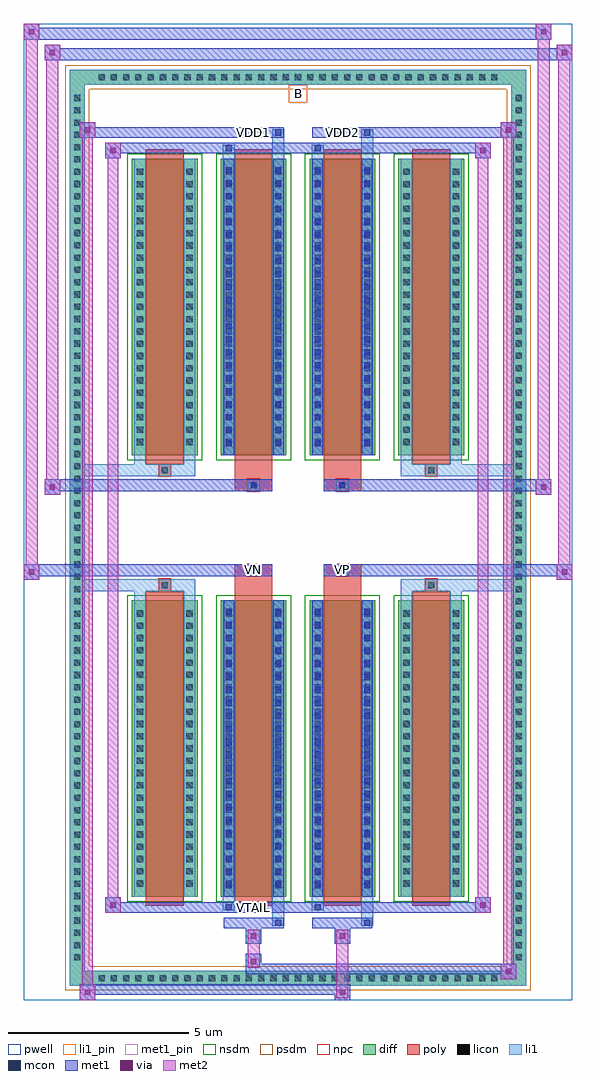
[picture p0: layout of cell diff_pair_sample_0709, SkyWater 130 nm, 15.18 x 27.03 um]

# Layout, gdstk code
import gdstk
lib = gdstk.Library(unit=1e-6, precision=5e-09)
def R(c, l, rs):  # rectangles x0, y0, x1, y1
    for r in rs: c.add(gdstk.rectangle(r[:2], r[2:], *l))
def A(c, l, x, y, w, h, nx, ny, dx, dy):  # array of equal rectangles
    R(c, l, [(x+i*dx, y+j*dy, x+i*dx+w, y+j*dy+h) for i in range(nx) for j in range(ny)])
def P(c, l, *ps):  # polygons
    for p in ps: c.add(gdstk.Polygon(p, *l))
pwell = (64, 44)
diff = (65, 20)
poly = (66, 20)
licon = (66, 44)
li1_pin = (67, 16)
li1 = (67, 20)
mcon = (67, 44)
met1_pin = (68, 16)
met1 = (68, 20)
via = (68, 44)
met2 = (69, 20)
nsdm = (93, 44)
psdm = (94, 20)
npc = (95, 20)

diff_pair_sample_0709 = lib.new_cell('diff_pair_sample_0709')
R(diff_pair_sample_0709, pwell, [(-7.59,-13.08,7.59,13.95), (-4.91,-11.27,-0.01,-0.815), (0.01,-11.27,4.91,-0.815), (-4.91,0.815,-0.01,11.27), (0.01,0.815,4.91,11.27)])
A(diff_pair_sample_0709, diff, -5.645, -12.68, 0.41, 0.41, 33, 2, 0.34, 24.95)
A(diff_pair_sample_0709, diff, -6.32, -12.105, 0.41, 0.41, 1, 71, 0, 0.34)
A(diff_pair_sample_0709, diff, 5.91, -12.105, 0.41, 0.41, 1, 71, 0, 0.34)
A(diff_pair_sample_0709, diff, -4.6, -10.225, 1.82, 8.22, 4, 2, 2.46, 12.23)
R(diff_pair_sample_0709, diff, [(-5.645,-12.68,5.645,-12.27), (-6.32,-12.105,-5.91,12.105), (5.91,-12.105,6.32,12.105), (-5.645,12.27,5.645,12.68)])
P(diff_pair_sample_0709, diff, [(6.32,12.68),(-6.32,12.68),(-6.32,-12.27),(-5.91,-12.27),(-5.91,12.27),(5.91,12.27),(5.91,-12.27),(-5.91,-12.27),(-6.32,-12.27),(-6.32,-12.68),(6.32,-12.68)])
A(diff_pair_sample_0709, poly, -4.21, -10.475, 1.04, 8.72, 4, 2, 2.46, 12.23)
R(diff_pair_sample_0709, poly, [(-3.855,-1.755,-3.525,-1.425), (-3.855,-1.755,-3.525,-1.425), (-1.75,-1.755,-0.71,-1.345), (0.71,-1.755,1.75,-1.345), (3.525,-1.755,3.855,-1.425), (3.525,-1.755,3.855,-1.425), (-1.75,-1.345,-0.71,-1.015), (-1.395,-1.345,-1.065,-1.015), (0.71,-1.345,1.75,-1.015), (1.065,-1.345,1.395,-1.015), (-1.75,1.015,-0.71,1.345), (-1.395,1.015,-1.065,1.345), (0.71,1.015,1.75,1.345), (1.065,1.015,1.395,1.345), (-1.75,1.345,-0.71,1.755), (0.71,1.345,1.75,1.755), (-3.855,1.425,-3.525,1.755), (-3.855,1.425,-3.525,1.755), (3.525,1.425,3.855,1.755), (3.525,1.425,3.855,1.755)])
A(diff_pair_sample_0709, licon, -5.525, -12.56, 0.17, 0.17, 33, 2, 0.34, 24.95)
A(diff_pair_sample_0709, licon, -6.2, -11.985, 0.17, 0.17, 1, 71, 0, 0.34)
A(diff_pair_sample_0709, licon, 6.03, -11.985, 0.17, 0.17, 1, 71, 0, 0.34)
A(diff_pair_sample_0709, licon, -4.46, -9.94, 0.17, 0.17, 1, 23, 0, 0.34)
A(diff_pair_sample_0709, licon, -3.09, -9.94, 0.17, 0.17, 1, 23, 0, 0.34)
A(diff_pair_sample_0709, licon, -2, -9.94, 0.17, 0.17, 1, 23, 0, 0.34)
A(diff_pair_sample_0709, licon, -0.63, -9.94, 0.17, 0.17, 1, 23, 0, 0.34)
A(diff_pair_sample_0709, licon, 0.46, -9.94, 0.17, 0.17, 1, 23, 0, 0.34)
A(diff_pair_sample_0709, licon, 1.83, -9.94, 0.17, 0.17, 1, 23, 0, 0.34)
A(diff_pair_sample_0709, licon, 2.92, -9.94, 0.17, 0.17, 1, 23, 0, 0.34)
A(diff_pair_sample_0709, licon, 4.29, -9.94, 0.17, 0.17, 1, 23, 0, 0.34)
A(diff_pair_sample_0709, licon, -4.46, 2.29, 0.17, 0.17, 1, 23, 0, 0.34)
A(diff_pair_sample_0709, licon, -3.09, 2.29, 0.17, 0.17, 1, 23, 0, 0.34)
A(diff_pair_sample_0709, licon, -2, 2.29, 0.17, 0.17, 1, 23, 0, 0.34)
A(diff_pair_sample_0709, licon, -0.63, 2.29, 0.17, 0.17, 1, 23, 0, 0.34)
A(diff_pair_sample_0709, licon, 0.46, 2.29, 0.17, 0.17, 1, 23, 0, 0.34)
A(diff_pair_sample_0709, licon, 1.83, 2.29, 0.17, 0.17, 1, 23, 0, 0.34)
A(diff_pair_sample_0709, licon, 2.92, 2.29, 0.17, 0.17, 1, 23, 0, 0.34)
A(diff_pair_sample_0709, licon, 4.29, 2.29, 0.17, 0.17, 1, 23, 0, 0.34)
R(diff_pair_sample_0709, licon, [(-3.775,-1.675,-3.605,-1.505), (3.605,-1.675,3.775,-1.505), (-1.315,-1.265,-1.145,-1.095), (1.145,-1.265,1.315,-1.095), (-1.315,1.095,-1.145,1.265), (1.145,1.095,1.315,1.265), (-3.775,1.505,-3.605,1.675), (3.605,1.505,3.775,1.675)])
R(diff_pair_sample_0709, li1_pin, [(-0.25,11.77,0.25,12.27)])
A(diff_pair_sample_0709, li1, -5.605, -12.64, 0.33, 0.33, 33, 2, 0.34, 24.95)
A(diff_pair_sample_0709, li1, -6.28, -12.065, 0.33, 0.33, 1, 71, 0, 0.34)
A(diff_pair_sample_0709, li1, 5.95, -12.065, 0.33, 0.33, 1, 71, 0, 0.34)
A(diff_pair_sample_0709, li1, -4.54, -10.02, 0.33, 0.33, 1, 23, 0, 0.34)
A(diff_pair_sample_0709, li1, -3.17, -10.02, 0.33, 0.33, 1, 23, 0, 0.34)
A(diff_pair_sample_0709, li1, -2.08, -10.02, 0.33, 0.33, 1, 23, 0, 0.34)
A(diff_pair_sample_0709, li1, -0.71, -10.02, 0.33, 0.33, 1, 23, 0, 0.34)
A(diff_pair_sample_0709, li1, 0.38, -10.02, 0.33, 0.33, 1, 23, 0, 0.34)
A(diff_pair_sample_0709, li1, 1.75, -10.02, 0.33, 0.33, 1, 23, 0, 0.34)
A(diff_pair_sample_0709, li1, 2.84, -10.02, 0.33, 0.33, 1, 23, 0, 0.34)
A(diff_pair_sample_0709, li1, 4.21, -10.02, 0.33, 0.33, 1, 23, 0, 0.34)
A(diff_pair_sample_0709, li1, -2, -9.98, 0.17, 0.17, 1, 22, 0, 0.36)
A(diff_pair_sample_0709, li1, -0.63, -9.98, 0.17, 0.17, 1, 22, 0, 0.36)
A(diff_pair_sample_0709, li1, 0.46, -9.98, 0.17, 0.17, 1, 22, 0, 0.36)
A(diff_pair_sample_0709, li1, 1.83, -9.98, 0.17, 0.17, 1, 22, 0, 0.36)
A(diff_pair_sample_0709, li1, -4.54, 2.21, 0.33, 0.33, 1, 23, 0, 0.34)
A(diff_pair_sample_0709, li1, -3.17, 2.21, 0.33, 0.33, 1, 23, 0, 0.34)
A(diff_pair_sample_0709, li1, -2.08, 2.21, 0.33, 0.33, 1, 23, 0, 0.34)
A(diff_pair_sample_0709, li1, -0.71, 2.21, 0.33, 0.33, 1, 23, 0, 0.34)
A(diff_pair_sample_0709, li1, 0.38, 2.21, 0.33, 0.33, 1, 23, 0, 0.34)
A(diff_pair_sample_0709, li1, 1.75, 2.21, 0.33, 0.33, 1, 23, 0, 0.34)
A(diff_pair_sample_0709, li1, 2.84, 2.21, 0.33, 0.33, 1, 23, 0, 0.34)
A(diff_pair_sample_0709, li1, 4.21, 2.21, 0.33, 0.33, 1, 23, 0, 0.34)
A(diff_pair_sample_0709, li1, -2, 2.25, 0.17, 0.17, 1, 22, 0, 0.36)
A(diff_pair_sample_0709, li1, -0.63, 2.25, 0.17, 0.17, 1, 22, 0, 0.36)
A(diff_pair_sample_0709, li1, 0.46, 2.25, 0.17, 0.17, 1, 22, 0, 0.36)
A(diff_pair_sample_0709, li1, 1.83, 2.25, 0.17, 0.17, 1, 22, 0, 0.36)
R(diff_pair_sample_0709, li1, [(-6.32,-12.68,-5.91,-12.27), (-6.32,-12.68,-5.91,-12.27), (-5.91,-12.68,5.91,-12.27), (5.91,-12.68,6.32,-12.27), (5.91,-12.68,6.32,-12.27), (-6.32,-12.27,-5.91,12.27), (5.91,-12.27,6.32,12.27), (-0.71,-11.03,-0.38,-10.225), (-0.63,-11.03,-0.46,-10.86), (1.75,-11.03,2.08,-10.225), (1.83,-11.03,2,-10.86), (-2.08,-10.6,-1.75,-10.225), (-2,-10.6,-1.83,-10.43), (0.38,-10.6,0.71,-10.225), (0.46,-10.6,0.63,-10.43), (-4.54,-10.225,-4.21,-2.005), (-3.17,-10.225,-2.84,-2.005), (-2.08,-10.225,-1.75,-2.005), (-0.71,-10.225,-0.38,-2.005), (0.38,-10.225,0.71,-2.005), (1.75,-10.225,2.08,-2.005), (2.84,-10.225,3.17,-2.005), (4.21,-10.225,4.54,-2.005), (-2,-9.98,-1.83,-2.25), (-0.63,-9.98,-0.46,-2.25), (0.46,-9.98,0.63,-2.25), (1.83,-9.98,2,-2.25), (-4.54,-2.005,-4.21,-1.425), (-3.17,-2.005,-2.84,-1.425), (2.84,-2.005,3.17,-1.425), (4.21,-2.005,4.54,-1.425), (-6.32,-1.755,-3.855,-1.425), (-4.54,-1.755,-3.855,-1.425), (-3.855,-1.755,-3.525,-1.425), (-3.525,-1.755,-2.84,-1.425), (2.84,-1.755,3.525,-1.425), (3.525,-1.755,3.855,-1.425), (3.525,-1.755,6.32,-1.425), (3.855,-1.755,4.54,-1.425), (-1.395,-1.345,-1.065,-1.015), (1.065,-1.345,1.395,-1.015), (-1.395,1.015,-1.065,1.345), (1.065,1.015,1.395,1.345), (-6.32,1.425,-3.855,1.755), (-4.54,1.425,-3.855,1.755), (-4.54,1.425,-4.21,2.005), (-3.855,1.425,-3.525,1.755), (-3.525,1.425,-2.84,1.755), (-3.17,1.425,-2.84,2.005), (2.84,1.425,3.525,1.755), (2.84,1.425,3.17,2.005), (3.525,1.425,3.855,1.755), (3.525,1.425,6.32,1.755), (3.855,1.425,4.54,1.755), (4.21,1.425,4.54,2.005), (-4.54,2.005,-4.21,10.225), (-3.17,2.005,-2.84,10.225), (-2.08,2.005,-1.75,10.225), (-0.71,2.005,-0.38,10.225), (0.38,2.005,0.71,10.225), (1.75,2.005,2.08,10.225), (2.84,2.005,3.17,10.225), (4.21,2.005,4.54,10.225), (-2,2.25,-1.83,9.98), (-0.63,2.25,-0.46,9.98), (0.46,2.25,0.63,9.98), (1.83,2.25,2,9.98), (-2.08,10.225,-1.75,10.6), (-0.71,10.225,-0.38,11.03), (0.38,10.225,0.71,10.6), (1.75,10.225,2.08,11.03), (-2,10.43,-1.83,10.6), (0.46,10.43,0.63,10.6), (-0.63,10.86,-0.46,11.03), (1.83,10.86,2,11.03), (-6.32,12.27,-5.91,12.68), (-6.32,12.27,-5.91,12.68), (-5.91,12.27,5.91,12.68), (5.91,12.27,6.32,12.68), (5.91,12.27,6.32,12.68)])
A(diff_pair_sample_0709, mcon, -2, -9.98, 0.17, 0.17, 1, 22, 0, 0.36)
A(diff_pair_sample_0709, mcon, -0.63, -9.98, 0.17, 0.17, 1, 22, 0, 0.36)
A(diff_pair_sample_0709, mcon, 0.46, -9.98, 0.17, 0.17, 1, 22, 0, 0.36)
A(diff_pair_sample_0709, mcon, 1.83, -9.98, 0.17, 0.17, 1, 22, 0, 0.36)
A(diff_pair_sample_0709, mcon, -2, 2.25, 0.17, 0.17, 1, 22, 0, 0.36)
A(diff_pair_sample_0709, mcon, -0.63, 2.25, 0.17, 0.17, 1, 22, 0, 0.36)
A(diff_pair_sample_0709, mcon, 0.46, 2.25, 0.17, 0.17, 1, 22, 0, 0.36)
A(diff_pair_sample_0709, mcon, 1.83, 2.25, 0.17, 0.17, 1, 22, 0, 0.36)
R(diff_pair_sample_0709, mcon, [(-0.63,-11.03,-0.46,-10.86), (1.83,-11.03,2,-10.86), (-2,-10.6,-1.83,-10.43), (0.46,-10.6,0.63,-10.43), (-1.315,-1.265,-1.145,-1.095), (1.145,-1.265,1.315,-1.095), (-1.315,1.095,-1.145,1.265), (1.145,1.095,1.315,1.265), (-2,10.43,-1.83,10.6), (0.46,10.43,0.63,10.6), (-0.63,10.86,-0.46,11.03), (1.83,10.86,2,11.03)])
R(diff_pair_sample_0709, met1_pin, [(-1.365,-10.64,-1.095,-10.37), (-1.365,-1.285,-1.095,-1.015), (1.095,-1.285,1.365,-1.015), (-1.365,10.82,-1.095,11.09), (1.095,10.82,1.365,11.09)])
A(diff_pair_sample_0709, met1, -2.06, -10.04, 0.29, 0.29, 1, 22, 0, 0.36)
A(diff_pair_sample_0709, met1, -0.69, -10.04, 0.29, 0.29, 1, 22, 0, 0.36)
A(diff_pair_sample_0709, met1, 0.4, -10.04, 0.29, 0.29, 1, 22, 0, 0.36)
A(diff_pair_sample_0709, met1, 1.77, -10.04, 0.29, 0.29, 1, 22, 0, 0.36)
A(diff_pair_sample_0709, met1, -2.06, 2.19, 0.29, 0.29, 1, 22, 0, 0.36)
A(diff_pair_sample_0709, met1, -0.69, 2.19, 0.29, 0.29, 1, 22, 0, 0.36)
A(diff_pair_sample_0709, met1, 0.4, 2.19, 0.29, 0.29, 1, 22, 0, 0.36)
A(diff_pair_sample_0709, met1, 1.77, 2.19, 0.29, 0.29, 1, 22, 0, 0.36)
R(diff_pair_sample_0709, met1, [(-6.05,-13.08,-5.62,-12.65), (1.015,-13.08,1.445,-12.65), (-6.05,-12.94,1.445,-12.65), (5.62,-12.51,6.05,-12.08), (-1.445,-12.37,6.05,-12.08), (-1.445,-12.23,-1.015,-11.8), (-1.445,-11.52,-1.015,-11.09), (1.015,-11.52,1.445,-11.09), (-2.06,-11.09,-0.4,-10.8), (-0.69,-11.09,-0.4,-10.8), (0.4,-11.09,2.06,-10.8), (1.77,-11.09,2.06,-10.8), (-5.34,-10.66,-4.91,-10.23), (-5.34,-10.66,-2.06,-10.37), (-2.06,-10.66,-1.77,-10.37), (-2.06,-10.66,-0.4,-10.37), (-0.4,-10.66,0.4,-10.37), (0.4,-10.66,0.69,-10.37), (0.4,-10.66,2.06,-10.37), (2.06,-10.66,5.34,-10.37), (4.91,-10.66,5.34,-10.23), (-2.06,-10.225,-1.77,-2.005), (-0.69,-10.225,-0.4,-2.005), (0.4,-10.225,0.69,-2.005), (1.77,-10.225,2.06,-2.005), (-7.59,-1.445,-7.16,-1.015), (7.16,-1.445,7.59,-1.015), (-7.59,-1.345,-0.71,-1.015), (-1.75,-1.345,-0.71,-1.015), (0.71,-1.345,1.75,-1.015), (0.71,-1.345,7.59,-1.015), (-1.375,-1.325,-1.085,-1.035), (1.085,-1.325,1.375,-1.035), (-7.02,0.915,-6.59,1.345), (6.59,0.915,7.02,1.345), (-7.02,1.015,-1.75,1.345), (-1.75,1.015,-0.71,1.345), (0.71,1.015,1.75,1.345), (1.75,1.015,7.02,1.345), (-1.375,1.035,-1.085,1.325), (1.085,1.035,1.375,1.325), (-2.06,2.005,-1.77,10.225), (-0.69,2.005,-0.4,10.225), (0.4,2.005,0.69,10.225), (1.77,2.005,2.06,10.225), (-5.34,10.23,-4.91,10.66), (4.91,10.23,5.34,10.66), (-5.34,10.37,-2.06,10.66), (-2.06,10.37,-1.77,10.66), (-2.06,10.37,-0.4,10.66), (-0.4,10.37,0.4,10.66), (0.4,10.37,0.69,10.66), (0.4,10.37,2.06,10.66), (2.06,10.37,5.34,10.66), (-6.05,10.8,-5.62,11.23), (-6.05,10.8,-2.06,11.09), (-2.06,10.8,-0.4,11.09), (-0.69,10.8,-0.4,11.09), (0.4,10.8,2.06,11.09), (1.77,10.8,2.06,11.09), (2.06,10.8,6.05,11.09), (5.62,10.8,6.05,11.23), (-7.02,12.95,-6.59,13.38), (-7.02,12.95,-4.91,13.28), (-4.91,12.95,4.91,13.28), (4.91,12.95,7.59,13.28), (7.16,12.95,7.59,13.38), (-7.59,13.52,-7.16,13.95), (-7.59,13.52,-4.91,13.85), (-4.91,13.52,4.91,13.85), (4.91,13.52,7.02,13.85), (6.59,13.52,7.02,13.95)])
R(diff_pair_sample_0709, via, [(-5.91,-12.94,-5.76,-12.79), (1.155,-12.94,1.305,-12.79), (5.76,-12.37,5.91,-12.22), (-1.305,-12.09,-1.155,-11.94), (-1.305,-11.38,-1.155,-11.23), (1.155,-11.38,1.305,-11.23), (-5.2,-10.52,-5.05,-10.37), (5.05,-10.52,5.2,-10.37), (-7.45,-1.305,-7.3,-1.155), (7.3,-1.305,7.45,-1.155), (-6.88,1.055,-6.73,1.205), (6.73,1.055,6.88,1.205), (-5.2,10.37,-5.05,10.52), (5.05,10.37,5.2,10.52), (-5.91,10.94,-5.76,11.09), (5.76,10.94,5.91,11.09), (-6.88,13.09,-6.73,13.24), (7.3,13.09,7.45,13.24), (-7.45,13.66,-7.3,13.81), (6.73,13.66,6.88,13.81)])
R(diff_pair_sample_0709, met2, [(-6.05,-13.08,-5.62,-12.65), (-5.98,-13.08,-5.69,11.23), (-5.69,-13.08,-5.62,-12.65), (-6,-13.03,-5.67,-12.7), (1.065,-13.03,1.395,-12.7), (1.065,-12.7,1.395,-11.47), (5.62,-12.51,6.05,-12.08), (5.69,-12.51,5.98,11.23), (5.98,-12.51,6.05,-12.08), (5.67,-12.46,6,-12.13), (-1.395,-12.18,-1.065,-11.85), (-1.395,-11.85,-1.065,-11.47), (-1.395,-11.47,-1.065,-11.14), (1.065,-11.47,1.395,-11.14), (-5.34,-10.66,-4.91,-10.23), (-5.27,-10.66,-4.98,10.66), (-4.98,-10.66,-4.91,-10.23), (4.91,-10.66,5.34,-10.23), (4.98,-10.66,5.27,10.66), (5.27,-10.66,5.34,-10.23), (-5.29,-10.61,-4.96,-10.28), (4.96,-10.61,5.29,-10.28), (-7.59,-1.445,-7.16,-1.015), (-7.54,-1.445,-7.21,13.95), (-7.21,-1.445,-7.16,-1.015), (7.16,-1.445,7.59,-1.015), (7.21,-1.445,7.54,13.38), (7.54,-1.445,7.59,-1.015), (-7.54,-1.395,-7.21,-1.065), (7.21,-1.395,7.54,-1.065), (-7.02,0.915,-6.59,1.345), (-6.97,0.915,-6.64,13.38), (-6.64,0.915,-6.59,1.345), (6.59,0.915,7.02,1.345), (6.64,0.915,6.97,13.95), (6.97,0.915,7.02,1.345), (-6.97,0.965,-6.64,1.295), (6.64,0.965,6.97,1.295), (-5.34,10.23,-4.91,10.66), (-4.98,10.23,-4.91,10.66), (4.91,10.23,5.34,10.66), (5.27,10.23,5.34,10.66), (-5.29,10.28,-4.96,10.61), (4.96,10.28,5.29,10.61), (-6.05,10.8,-5.62,11.23), (-5.69,10.8,-5.62,11.23), (5.62,10.8,6.05,11.23), (5.98,10.8,6.05,11.23), (-6,10.85,-5.67,11.18), (5.67,10.85,6,11.18), (-7.02,12.95,-6.59,13.38), (-6.64,12.95,-6.59,13.38), (7.16,12.95,7.59,13.38), (7.54,12.95,7.59,13.38), (-6.97,13,-6.64,13.33), (7.21,13,7.54,13.33), (-7.59,13.52,-7.16,13.95), (-7.21,13.52,-7.16,13.95), (6.59,13.52,7.02,13.95), (6.97,13.52,7.02,13.95), (-7.54,13.57,-7.21,13.9), (6.64,13.57,6.97,13.9)])
A(diff_pair_sample_0709, nsdm, -4.73, -10.355, 2.08, 8.48, 4, 2, 2.46, 12.23)
P(diff_pair_sample_0709, psdm, [(6.45,12.81),(-6.45,12.81),(-6.45,-12.14),(-5.78,-12.14),(-5.78,12.14),(5.78,12.14),(5.78,-12.14),(-5.78,-12.14),(-6.45,-12.14),(-6.45,-12.81),(6.45,-12.81)])
R(diff_pair_sample_0709, npc, [(-3.875,-1.775,-3.505,-1.405), (3.505,-1.775,3.875,-1.405), (-1.415,-1.365,-1.045,-0.995), (1.045,-1.365,1.415,-0.995), (-1.415,0.995,-1.045,1.365), (1.045,0.995,1.415,1.365), (-3.875,1.405,-3.505,1.775), (3.505,1.405,3.875,1.775)])
diff_pair_sample_0709.add(gdstk.Label('VTAIL', (-1.23,-10.505), layer=68, texttype=5))
diff_pair_sample_0709.add(gdstk.Label('VN', (-1.23,-1.15), layer=68, texttype=5))
diff_pair_sample_0709.add(gdstk.Label('VP', (1.23,-1.15), layer=68, texttype=5))
diff_pair_sample_0709.add(gdstk.Label('B', (0,12.02), layer=67, texttype=5))
diff_pair_sample_0709.add(gdstk.Label('VDD2', (1.23,10.955), layer=68, texttype=5))
diff_pair_sample_0709.add(gdstk.Label('VDD1', (-1.23,10.955), layer=68, texttype=5))

lib.write_gds('diff_pair_sample_0709.gds')
